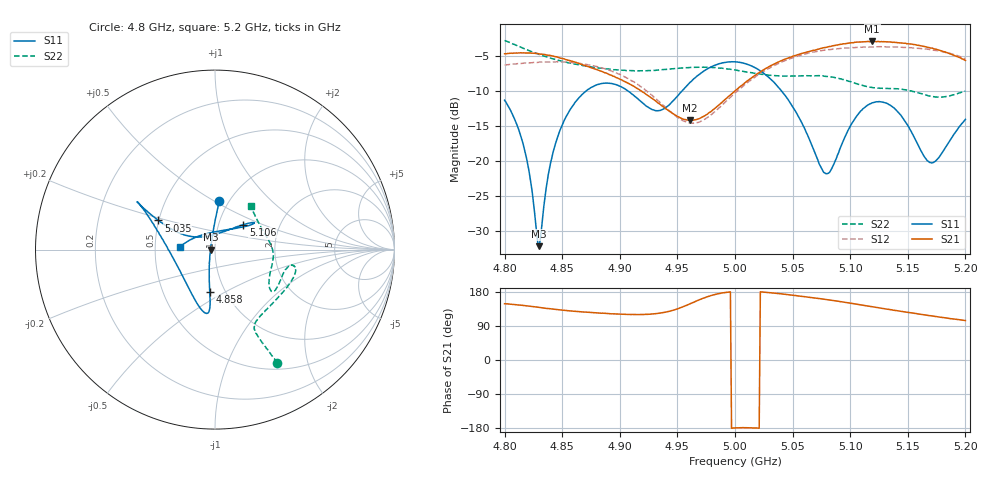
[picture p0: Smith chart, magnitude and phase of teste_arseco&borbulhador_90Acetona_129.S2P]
! Network Analyzer HP8722D
! Hewlett-Packard
! Data name: Linha & Wilkinson
! Saver's name: Rodrigo Anjos
! Comments: Teste da utilização de aquisição
! continua pelo VNA HP8722D
! Time and date: 17/4/2025 12:07
!  Frequency  S11  S21  S12  S22
# HZ  S  MA R 50
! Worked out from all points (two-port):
!   401 points, 4.8 GHz to 5.2 GHz, reference 50 ohm
!   highest |S21| = -2.98 dB at 5.119 GHz (marker M1); lowest = -14.2 dB at 4.961 GHz (marker M2)
!   |S21| within 3 dB of the highest: start of sweep to 4.862 GHz; 5.037 GHz to end of sweep
!   lowest |S11| = -32.1 dB at 4.83 GHz (marker M3), VSWR 1.05, Z = 47.6 - j0.0415 ohm
!   |S11| at or under -10 dB: start of sweep to 4.871 GHz; 4.907 GHz to 4.954 GHz (47.2 MHz wide, 0.957 % of centre); 5.04 GHz to end of sweep
!   |S22| runs from -10.9 to -2.8 dB; largest |S21 - S12| = 1.3
!   S11 on the Smith chart (normalised r, x): 4.8 GHz: 0.90, +0.53; 4.858 GHz: 0.85, -0.43; 5.035 GHz: 0.50, +0.19; 5.106 GHz: 1.31, +0.38; 5.2 GHz: 0.67, +0.02
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4.8e9  0.2709 85.1  0.5798 148.5  0.4836 -112.6  0.7213 -61.1
4.817e9  0.123 93.1  0.5887 143.7  0.4977 -112.2  0.6308 -62.2
4.822e9  0.07693 101.0  0.5876 141.7  0.5003 -112.0  0.6079 -62.6
4.828e9  0.02967 140.2  0.5836 139.7  0.5025 -111.7  0.5822 -63.1
4.83e9  0.02478 -179.0  0.5791 138.7  0.5049 -111.5  0.5731 -63.2
4.837e9  0.07199 -115.0  0.5677 135.9  0.5059 -111.3  0.5491 -63.5
4.842e9  0.1149 -106.2  0.5585 134.4  0.507 -111.1  0.5341 -63.7
4.858e9  0.2394 -96.9  0.5143 129.3  0.5031 -111.1  0.4942 -63.6
4.867e9  0.2963 -95.3  0.4879 127.0  0.492 -111.3  0.4803 -62.8
4.898e9  0.3464 -102.0  0.3897 121.4  0.4194 -114.6  0.4457 -54.0
4.934e9  0.2284 -155.8  0.2564 123.3  0.2659 -114.9  0.4444 -33.7
4.961e9  0.3632 158.6  0.1944 148.3  0.1863 -88.9  0.4636 -19.9
5e9  0.5086 148.5  0.3156 -179.4  0.3051 -49.6  0.4441 -11.4
5.035e9  0.3548 152.7  0.4946 176.2  0.4826 -46.0  0.4052 -17.9
5.067e9  0.1278 146.9  0.6107 164.5  0.5944 -49.9  0.4045 -31.7
5.075e9  0.08873 125.4  0.6344 161.2  0.6095 -51.3  0.4035 -34.3
5.081e9  0.08182 96.3  0.6504 158.8  0.6206 -52.5  0.4001 -35.7
5.106e9  0.2107 41.2  0.7025 147.1  0.6433 -58.5  0.3533 -31.9
5.119e9  0.2596 35.5  0.71 140.6  0.6488 -62.2  0.3341 -23.0
5.134e9  0.2513 34.2  0.7047 133.3  0.6491 -67.2  0.3279 -10.9
5.17e9  0.09726 99.2  0.6364 116.7  0.6204 -79.7  0.2893 19.8
5.2e9  0.1978 175.8  0.5197 104.1  0.5337 -89.7  0.3144 50.3
